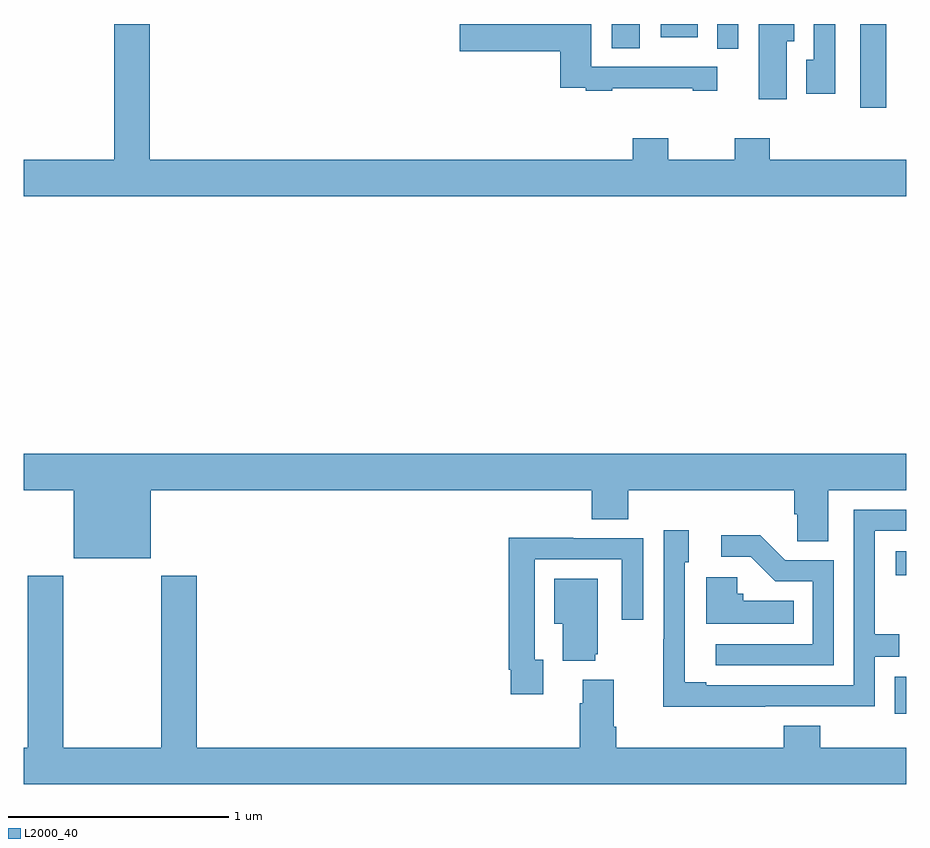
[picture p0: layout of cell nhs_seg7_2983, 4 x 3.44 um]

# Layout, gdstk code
import gdstk
lib = gdstk.Library(unit=1e-6, precision=1e-09)
def R(c, l, rs):  # rectangles x0, y0, x1, y1
    for r in rs: c.add(gdstk.rectangle(r[:2], r[2:], *l))
def P(c, l, *ps):  # polygons
    for p in ps: c.add(gdstk.Polygon(p, *l))
L2000_40 = (2000, 40)

nhs_seg7_2983 = lib.new_cell('nhs_seg7_2983')
R(nhs_seg7_2983, L2000_40, [(304.947,1060.875,305,1061.043), (304.953,1061.501,305,1061.611), (304.79,1063.62,304.909,1064), (304.143,1063.887,304.239,1064), (303.665,1063.891,303.793,1064), (303.887,1063.94,304.054,1064)])
P(nhs_seg7_2983, L2000_40, [(305,1063.384),(304.382,1063.384),(304.382,1063.483),(304.222,1063.483),(304.222,1063.384),(303.921,1063.384),(303.921,1063.483),(303.761,1063.483),(303.761,1063.384),(301.571,1063.384),(301.571,1064),(301.411,1064),(301.411,1063.384),(301,1063.384),(301,1063.22),(305,1063.22)],
  [(304.459,1063.922),(304.492,1063.922),(304.492,1064),(304.331,1064),(304.331,1063.659),(304.459,1063.659)],
  [(303.667,1063.708),(304.031,1063.708),(304.031,1063.698),(304.143,1063.698),(304.143,1063.806),(303.571,1063.806),(303.571,1064),(302.976,1064),(302.976,1063.877),(303.431,1063.877),(303.431,1063.71),(303.547,1063.71),(303.547,1063.698),(303.667,1063.698)],
  [(304.677,1064),(304.581,1064),(304.581,1063.839),(304.547,1063.839),(304.547,1063.683),(304.677,1063.683)],
  [(301.576,1061.888),(303.575,1061.888),(303.575,1061.755),(303.74,1061.755),(303.74,1061.888),(304.493,1061.888),(304.493,1061.779),(304.506,1061.779),(304.506,1061.656),(304.645,1061.656),(304.645,1061.888),(305,1061.888),(305,1062.052),(301,1062.052),(301,1061.888),(301.226,1061.888),(301.226,1061.579),(301.576,1061.579)],
  [(304.361,1060.908),(304.857,1060.908),(304.857,1061.133),(304.967,1061.133),(304.967,1061.234),(304.857,1061.234),(304.857,1061.703),(305,1061.703),(305,1061.799),(304.761,1061.799),(304.761,1061.004),(304.093,1061.004),(304.093,1061.017),(303.996,1061.017),(303.996,1061.562),(304.015,1061.562),(304.015,1061.707),(303.9,1061.707),(303.9,1061.213),(303.898,1061.213),(303.898,1060.907),(304.361,1060.907)],
  [(304.671,1061.571),(304.452,1061.571),(304.339,1061.684),(304.161,1061.684),(304.161,1061.586),(304.295,1061.586),(304.406,1061.475),(304.575,1061.475),(304.575,1061.19),(304.137,1061.19),(304.137,1061.094),(304.671,1061.094)],
  [(303.355,1061.118),(303.315,1061.118),(303.315,1061.574),(303.711,1061.574),(303.711,1061.301),(303.807,1061.301),(303.807,1061.67),(303.491,1061.67),(303.491,1061.672),(303.199,1061.672),(303.199,1061.074),(303.207,1061.074),(303.207,1060.962),(303.355,1060.962)],
  [(305,1060.72),(304.61,1060.72),(304.61,1060.819),(304.445,1060.819),(304.445,1060.72),(303.686,1060.72),(303.686,1060.816),(303.673,1060.816),(303.673,1061.029),(303.533,1061.029),(303.533,1060.922),(303.521,1060.922),(303.521,1060.72),(301.784,1060.72),(301.784,1061.5),(301.624,1061.5),(301.624,1060.72),(301.179,1060.72),(301.179,1061.5),(301.019,1061.5),(301.019,1060.72),(301,1060.72),(301,1060.556),(305,1060.556)],
  [(304.49,1061.386),(304.26,1061.386),(304.26,1061.418),(304.233,1061.418),(304.233,1061.494),(304.094,1061.494),(304.094,1061.282),(304.49,1061.282)],
  [(303.59,1061.145),(303.601,1061.145),(303.601,1061.485),(303.404,1061.485),(303.404,1061.282),(303.443,1061.282),(303.443,1061.114),(303.59,1061.114)])

lib.write_gds('nhs_seg7_2983.gds')
